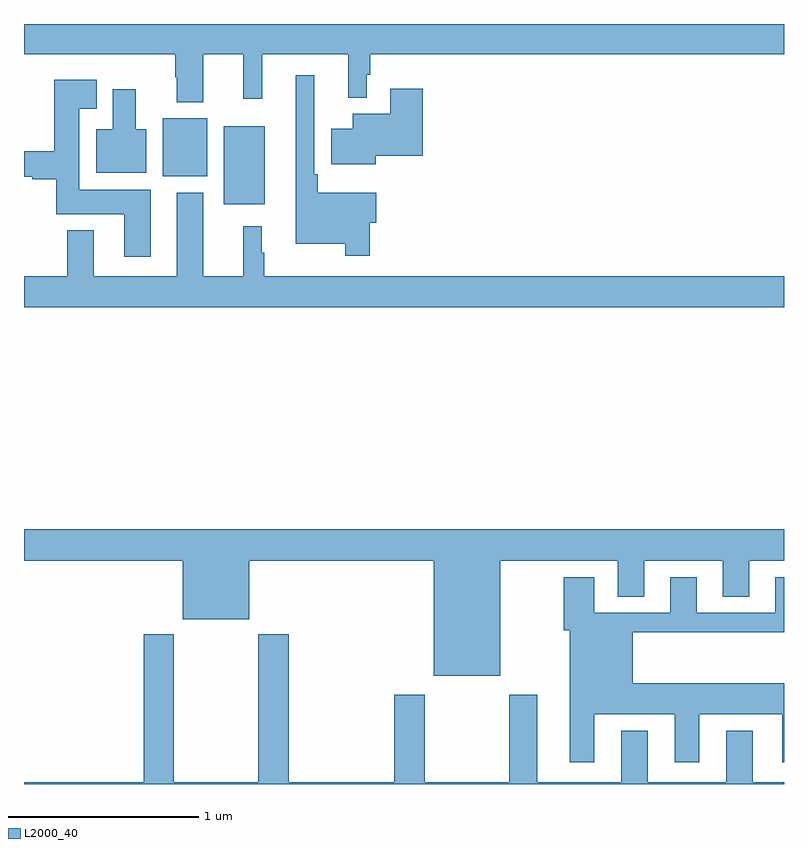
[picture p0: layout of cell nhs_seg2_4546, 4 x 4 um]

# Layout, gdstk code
import gdstk
lib = gdstk.Library(unit=1e-6, precision=1e-09)
def R(c, l, rs):  # rectangles x0, y0, x1, y1
    for r in rs: c.add(gdstk.rectangle(r[:2], r[2:], *l))
def P(c, l, *ps):  # polygons
    for p in ps: c.add(gdstk.Polygon(p, *l))
L2000_40 = (2000, 40)

nhs_seg2_4546 = lib.new_cell('nhs_seg2_4546')
R(nhs_seg2_4546, L2000_40, [(358.052,642.851,358.267,643.261), (357.731,642.998,357.964,643.303)])
P(nhs_seg2_4546, L2000_40, [(357.943,643.64),(358.154,643.64),(358.154,643.407),(358.253,643.407),(358.253,643.64),(358.706,643.64),(358.706,643.412),(358.803,643.412),(358.803,643.533),(358.823,643.533),(358.823,643.64),(361,643.64),(361,643.8),(357,643.8),(357,643.64),(357.796,643.64),(357.796,643.52),(357.803,643.52),(357.803,643.388),(357.943,643.388)],
  [(358.82,642.755),(358.855,642.755),(358.855,642.913),(358.547,642.913),(358.547,643.009),(358.527,643.009),(358.527,643.531),(358.43,643.531),(358.43,642.644),(358.692,642.644),(358.692,642.579),(358.82,642.579)],
  [(357.667,642.928),(357.292,642.928),(357.292,643.355),(357.382,643.355),(357.382,643.507),(357.158,643.507),(357.158,643.13),(357,643.13),(357,642.995),(357.044,642.995),(357.044,642.983),(357.17,642.983),(357.17,642.8),(357.527,642.8),(357.527,642.576),(357.667,642.576)],
  [(358.852,643.106),(359.099,643.106),(359.099,643.459),(358.928,643.459),(358.928,643.327),(358.73,643.327),(358.73,643.249),(358.616,643.249),(358.616,643.061),(358.852,643.061)],
  [(357.643,643.246),(357.589,643.246),(357.589,643.456),(357.467,643.456),(357.467,643.246),(357.38,643.246),(357.38,643.016),(357.643,643.016)],
  [(361,642.472),(358.264,642.472),(358.264,642.596),(358.252,642.596),(358.252,642.736),(358.154,642.736),(358.154,642.472),(357.943,642.472),(357.943,642.913),(357.803,642.913),(357.803,642.472),(357.367,642.472),(357.367,642.715),(357.227,642.715),(357.227,642.472),(357,642.472),(357,642.308),(361,642.308)],
  [(359.506,640.976),(360.125,640.976),(360.125,640.786),(360.265,640.786),(360.265,640.976),(360.677,640.976),(360.677,640.786),(360.817,640.786),(360.817,640.976),(361,640.976),(361,641.14),(357,641.14),(357,640.976),(357.836,640.976),(357.836,640.667),(358.186,640.667),(358.186,640.976),(359.156,640.976),(359.156,640.37),(359.506,640.37)],
  [(360.001,640.166),(360.425,640.166),(360.425,639.915),(360.553,639.915),(360.553,640.166),(360.992,640.166),(360.992,639.915),(361,639.915),(361,640.33),(360.205,640.33),(360.205,640.6),(361,640.6),(361,640.888),(360.953,640.888),(360.953,640.701),(360.541,640.701),(360.541,640.888),(360.401,640.888),(360.401,640.701),(360.001,640.701),(360.001,640.888),(359.842,640.888),(359.842,640.608),(359.873,640.608),(359.873,639.915),(360.001,639.915)],
  [(361,639.808),(360.835,639.808),(360.835,640.081),(360.695,640.081),(360.695,639.808),(360.283,639.808),(360.283,640.081),(360.143,640.081),(360.143,639.808),(359.701,639.808),(359.701,640.27),(359.554,640.27),(359.554,639.808),(359.109,639.808),(359.109,640.27),(358.949,640.27),(358.949,639.808),(358.394,639.808),(358.394,640.588),(358.234,640.588),(358.234,639.808),(357.789,639.808),(357.789,640.588),(357.629,640.588),(357.629,639.808),(357,639.808),(357,639.8),(361,639.8)])

lib.write_gds('nhs_seg2_4546.gds')
